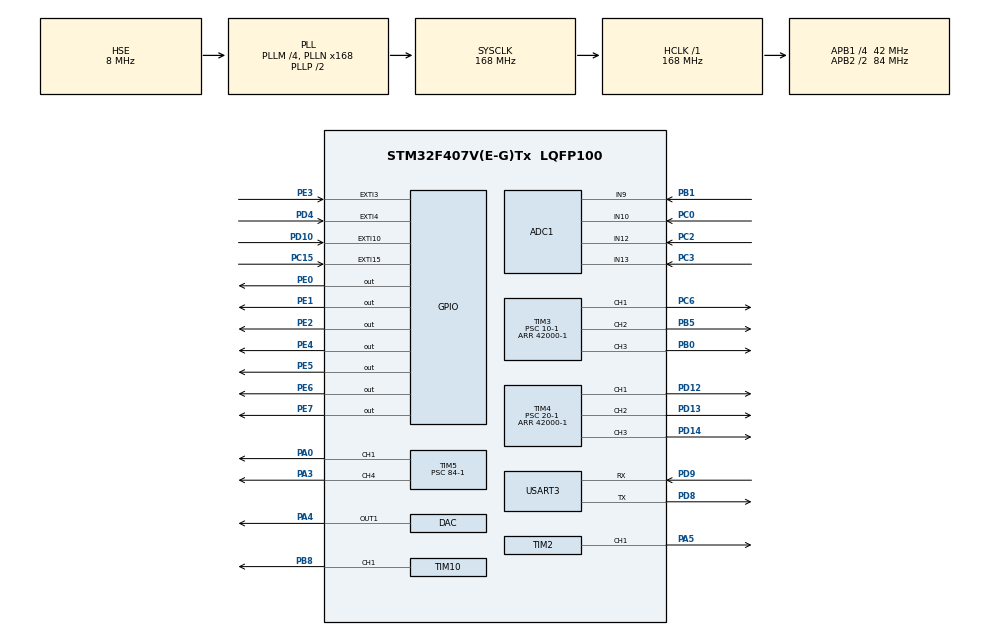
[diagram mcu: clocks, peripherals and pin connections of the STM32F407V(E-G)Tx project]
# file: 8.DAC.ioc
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ADC1.Channel-0\#ChannelRegularConversion=ADC_CHANNEL_10
ADC1.Channel-1\#ChannelRegularConversion=ADC_CHANNEL_12
ADC1.Channel-2\#ChannelRegularConversion=ADC_CHANNEL_13
ADC1.Channel-3\#ChannelRegularConversion=ADC_CHANNEL_9
ADC1.ContinuousConvMode=ENABLE
ADC1.DMAContinuousRequests=ENABLE
ADC1.NbrOfConversion=4
ADC1.NbrOfConversionFlag=1
ADC1.Rank-0\#ChannelRegularConversion=1
ADC1.Rank-1\#ChannelRegularConversion=2
ADC1.Rank-2\#ChannelRegularConversion=3
ADC1.Rank-3\#ChannelRegularConversion=4
ADC1.SamplingTime-0\#ChannelRegularConversion=ADC_SAMPLETIME_84CYCLES
ADC1.SamplingTime-1\#ChannelRegularConversion=ADC_SAMPLETIME_84CYCLES
ADC1.SamplingTime-2\#ChannelRegularConversion=ADC_SAMPLETIME_84CYCLES
ADC1.SamplingTime-3\#ChannelRegularConversion=ADC_SAMPLETIME_84CYCLES
ADC1.ScanConvMode=ENABLE
ADC1.master=1
Dma.ADC1.0.Direction=DMA_PERIPH_TO_MEMORY
Dma.ADC1.0.FIFOMode=DMA_FIFOMODE_DISABLE
Dma.ADC1.0.Instance=DMA2_Stream0
Dma.ADC1.0.MemDataAlignment=DMA_MDATAALIGN_HALFWORD
Dma.ADC1.0.MemInc=DMA_MINC_ENABLE
Dma.ADC1.0.Mode=DMA_CIRCULAR
Dma.ADC1.0.PeriphDataAlignment=DMA_PDATAALIGN_HALFWORD
Dma.ADC1.0.PeriphInc=DMA_PINC_DISABLE
Dma.ADC1.0.Priority=DMA_PRIORITY_LOW
Dma.Request0=ADC1
Mcu.Family=STM32F4
Mcu.Name=STM32F407V(E-G)Tx
Mcu.Package=LQFP100
NVIC.DMA2_Stream0_IRQn=true\:0\:0\:false\:false\:true\:false\:true\:true
NVIC.EXTI15_10_IRQn=true\:0\:0\:false\:true\:true\:5\:true\:true\:true
NVIC.EXTI3_IRQn=true\:0\:0\:false\:true\:true\:3\:true\:true\:true
NVIC.EXTI4_IRQn=true\:0\:0\:false\:true\:true\:4\:true\:true\:true
NVIC.PriorityGroup=NVIC_PRIORITYGROUP_4
NVIC.TIM7_IRQn=true\:0\:0\:false\:true\:true\:2\:true\:true\:true
NVIC.USART3_IRQn=true\:0\:0\:false\:true\:true\:1\:true\:true\:true
PA0-WKUP.Signal=S_TIM5_CH1
PA3.Signal=S_TIM5_CH4
PA4.Signal=COMP_DAC1_group
PA5.Signal=S_TIM2_CH1_ETR
PB0.Signal=S_TIM3_CH3
PB1.Signal=ADCx_IN9
PB5.Signal=S_TIM3_CH2
PB8.Signal=S_TIM10_CH1
PC0.Signal=ADCx_IN10
PC15-OSC32_OUT.Signal=GPXTI15
PC2.Signal=ADCx_IN12
PC3.Signal=ADCx_IN13
PC6.Signal=S_TIM3_CH1
PD10.Signal=GPXTI10
PD12.Signal=S_TIM4_CH1
PD13.Signal=S_TIM4_CH2
PD14.Signal=S_TIM4_CH3
PD4.Signal=GPXTI4
PD8.Mode=Asynchronous
PD8.Signal=USART3_TX
PD9.Mode=Asynchronous
PD9.Signal=USART3_RX
PE0.Signal=GPIO_Output
PE1.Signal=GPIO_Output
PE2.Signal=GPIO_Output
PE3.Signal=GPXTI3
PE4.Signal=GPIO_Output
PE5.Signal=GPIO_Output
PE6.Signal=GPIO_Output
PE7.Signal=GPIO_Output
PH0-OSC_IN.Mode=HSE-External-Oscillator
PH0-OSC_IN.Signal=RCC_OSC_IN
PH1-OSC_OUT.Mode=HSE-External-Oscillator
PH1-OSC_OUT.Signal=RCC_OSC_OUT
ProjectManager.HeapSize=0x200
ProjectManager.StackSize=0x400
ProjectManager.TargetToolchain=STM32CubeIDE
RCC.48MHZClocksFreq_Value=84000000
RCC.AHBFreq_Value=168000000
RCC.APB1CLKDivider=RCC_HCLK_DIV4
RCC.APB1Freq_Value=42000000
RCC.APB1TimFreq_Value=84000000
RCC.APB2CLKDivider=RCC_HCLK_DIV2
RCC.APB2Freq_Value=84000000
RCC.APB2TimFreq_Value=168000000
RCC.CortexFreq_Value=168000000
RCC.HCLKFreq_Value=168000000
RCC.HSE_VALUE=8000000
RCC.HSI_VALUE=16000000
RCC.LSE_VALUE=32768
RCC.PLLM=4
RCC.PLLN=168
RCC.PLLSourceVirtual=RCC_PLLSOURCE_HSE
RCC.SYSCLKFreq_VALUE=168000000
RCC.SYSCLKSource=RCC_SYSCLKSOURCE_PLLCLK
RCC.VCOOutputFreq_Value=336000000
SH.ADCx_IN10.0=ADC1_IN10,IN10
SH.ADCx_IN12.0=ADC1_IN12,IN12
SH.ADCx_IN13.0=ADC1_IN13,IN13
SH.ADCx_IN9.0=ADC1_IN9,IN9
SH.COMP_DAC1_group.0=DAC_OUT1,DAC_OUT1
SH.S_TIM10_CH1.0=TIM10_CH1,PWM Generation1 CH1
SH.S_TIM2_CH1_ETR.0=TIM2_CH1,PWM Generation1 CH1
SH.S_TIM3_CH1.0=TIM3_CH1,PWM Generation1 CH1
SH.S_TIM3_CH2.0=TIM3_CH2,PWM Generation2 CH2
SH.S_TIM3_CH3.0=TIM3_CH3,PWM Generation3 CH3
SH.S_TIM4_CH1.0=TIM4_CH1,PWM Generation1 CH1
SH.S_TIM4_CH2.0=TIM4_CH2,PWM Generation2 CH2
SH.S_TIM4_CH3.0=TIM4_CH3,PWM Generation3 CH3
SH.S_TIM5_CH1.0=TIM5_CH1,PWM Generation1 CH1
SH.S_TIM5_CH4.0=TIM5_CH4,PWM Generation4 CH4
TIM10.Channel=TIM_CHANNEL_1
TIM10.Period=10000-1
TIM10.Prescaler=336-1
TIM10.Pulse=100
TIM2.Channel-PWM\ Generation1\ CH1=TIM_CHANNEL_1
TIM2.Period=1000-1
TIM2.Prescaler=168-1
TIM2.Pulse-PWM\ Generation1\ CH1=500
TIM3.Channel-PWM\ Generation1\ CH1=TIM_CHANNEL_1
TIM3.Channel-PWM\ Generation2\ CH2=TIM_CHANNEL_2
TIM3.Channel-PWM\ Generation3\ CH3=TIM_CHANNEL_3
TIM3.Period=42000-1
TIM3.Prescaler=10-1
TIM3.Pulse-PWM\ Generation1\ CH1=21000-1
TIM3.Pulse-PWM\ Generation2\ CH2=10500-1
TIM3.Pulse-PWM\ Generation3\ CH3=5250-1
TIM4.Channel-PWM\ Generation1\ CH1=TIM_CHANNEL_1
TIM4.Channel-PWM\ Generation2\ CH2=TIM_CHANNEL_2
TIM4.Channel-PWM\ Generation3\ CH3=TIM_CHANNEL_3
TIM4.Period=42000-1
TIM4.Prescaler=20-1
TIM4.Pulse-PWM\ Generation1\ CH1=21000-1
TIM4.Pulse-PWM\ Generation2\ CH2=10500-1
TIM4.Pulse-PWM\ Generation3\ CH3=5250-1
TIM5.Channel-PWM\ Generation1\ CH1=TIM_CHANNEL_1
TIM5.Channel-PWM\ Generation4\ CH4=TIM_CHANNEL_4
TIM5.Period=10000-1
TIM5.Prescaler=84-1
TIM5.Pulse-PWM\ Generation1\ CH1=5000
TIM7.Period=8399
TIM7.Prescaler=9999
USART3.VirtualMode=VM_ASYNC
VP_TIM10_VS_ClockSourceINT.Mode=Enable_Timer
VP_TIM2_VS_ClockSourceINT.Mode=Internal
VP_TIM3_VS_ClockSourceINT.Mode=Internal
VP_TIM4_VS_ClockSourceINT.Mode=Internal
VP_TIM5_VS_ClockSourceINT.Mode=Internal
VP_TIM7_VS_ClockSourceINT.Mode=Enable_Timer
board=custom

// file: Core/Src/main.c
/* USER CODE BEGIN Header */
/**
  ******************************************************************************
  * @file           : main.c
  * @brief          : Main program body
  ******************************************************************************
  * @attention
  *
  * Copyright (c) 2024 STMicroelectronics.
  * All rights reserved.
  *
  * This software is licensed under terms that can be found in the LICENSE file
  * in the root directory of this software component.
  * If no LICENSE file comes with this software, it is provided AS-IS.
  *
  ******************************************************************************
  */
/* USER CODE END Header */
#include "main.h"
#include "adc.h"
#include "dac.h"
#include "dma.h"
#include "tim.h"
#include "usart.h"
#include "gpio.h"

/* USER CODE BEGIN Includes */
#include "CLCD.h"
#include "7SEG.h"
#include  <stdio.h>
/* USER CODE END Includes */

/* USER CODE BEGIN PV */
 uint8_t rx3_data;
/* USER CODE END PV */

void SystemClock_Config(void);
static void MX_NVIC_Init(void);

int main(void)
{
  /* USER CODE BEGIN 1 */
	uint16_t adcval[4];
  /* USER CODE END 1 */

  /* MCU Configuration--------------------------------------------------------*/

  /* Reset of all peripherals, Initializes the Flash interface and the Systick. */
  HAL_Init();

  /* Configure the system clock */
  SystemClock_Config();

  /* Initialize all configured peripherals */
  MX_GPIO_Init();
  MX_DMA_Init();
  MX_USART3_UART_Init();
  MX_TIM7_Init();
  MX_TIM3_Init();
  MX_TIM4_Init();
  MX_TIM10_Init();
  MX_TIM2_Init();
  MX_TIM5_Init();
  MX_ADC1_Init();
  MX_DAC_Init();

  /* Initialize interrupts */
  MX_NVIC_Init();
  /* USER CODE BEGIN 2 */
  HAL_GPIO_WritePin(GPIOD, GPIO_PIN_12, GPIO_PIN_SET);
  HAL_GPIO_WritePin(GPIOD, GPIO_PIN_13, GPIO_PIN_SET);
  HAL_GPIO_WritePin(GPIOD, GPIO_PIN_14, GPIO_PIN_SET);

  HAL_GPIO_WritePin(GPIOC, GPIO_PIN_6, GPIO_PIN_SET);
  HAL_GPIO_WritePin(GPIOB, GPIO_PIN_5, GPIO_PIN_SET);
  HAL_GPIO_WritePin(GPIOB, GPIO_PIN_0, GPIO_PIN_SET);

  HAL_UART_Receive_IT(&huart3, &rx3_data, 1);
  HAL_TIM_Base_Start_IT(&htim7);

  CLCD_GPIO_Init();
  CLCD_Init();
  CLCD_Puts(0, 0, "hello world");

  _7SEG_GPIO_Init();

  HAL_TIM_PWM_Start(&htim3, TIM_CHANNEL_1);
  HAL_TIM_PWM_Start(&htim3, TIM_CHANNEL_2);
  HAL_TIM_PWM_Start(&htim3, TIM_CHANNEL_3);

  HAL_TIM_PWM_Start(&htim4, TIM_CHANNEL_1);
  HAL_TIM_PWM_Start(&htim4, TIM_CHANNEL_2);
  HAL_TIM_PWM_Start(&htim4, TIM_CHANNEL_3);

  HAL_TIM_PWM_Start(&htim10, TIM_CHANNEL_1);
//  HAL_TIM_PWM_Start(&htim2, TIM_CHANNEL_1);

  HAL_TIM_PWM_Start(&htim5, TIM_CHANNEL_1);
  HAL_TIM_PWM_Start(&htim5, TIM_CHANNEL_4);

  HAL_ADC_Start_DMA(&hadc1, &adcval[0], 4);
  HAL_DAC_Start(&hdac, DAC_CHANNEL_1);

  TIM10->CCR1 = 1500;
  TIM2->ARR = 500 -1;
  TIM2 ->CCR1 = 250;
  /* USER CODE END 2 */

  /* Infinite loop */
  /* USER CODE BEGIN WHILE */
  uint8_t a = 0;
  uint8_t str[20];
  uint16_t ccr = 100;
  while (1)
  {
	  sprintf(str,"%4d  %4d",adcval[0],adcval[1]);
	  CLCD_Puts(0, 0, str);

	  sprintf(str,"%4d  %4d",adcval[2],adcval[3]);
	  CLCD_Puts(0, 1, str);

	  HAL_DAC_SetValue(&hdac, DAC_CHANNEL_1, DAC_ALIGN_12B_R, 2047);

    /* USER CODE END WHILE */

  }
}

void SystemClock_Config(void)
{
  RCC_OscInitTypeDef RCC_OscInitStruct = {0};
  RCC_ClkInitTypeDef RCC_ClkInitStruct = {0};

  /** Configure the main internal regulator output voltage
  */
  __HAL_RCC_PWR_CLK_ENABLE();
  __HAL_PWR_VOLTAGESCALING_CONFIG(PWR_REGULATOR_VOLTAGE_SCALE1);

  /** Initializes the RCC Oscillators according to the specified parameters
  * in the RCC_OscInitTypeDef structure.
  */
  RCC_OscInitStruct.OscillatorType = RCC_OSCILLATORTYPE_HSE;
  RCC_OscInitStruct.HSEState = RCC_HSE_ON;
  RCC_OscInitStruct.PLL.PLLState = RCC_PLL_ON;
  RCC_OscInitStruct.PLL.PLLSource = RCC_PLLSOURCE_HSE;
  RCC_OscInitStruct.PLL.PLLM = 4;
  RCC_OscInitStruct.PLL.PLLN = 168;
  RCC_OscInitStruct.PLL.PLLP = RCC_PLLP_DIV2;
  RCC_OscInitStruct.PLL.PLLQ = 4;
  if (HAL_RCC_OscConfig(&RCC_OscInitStruct) != HAL_OK)
  {
    Error_Handler();
  }

  /** Initializes the CPU, AHB and APB buses clocks
  */
  RCC_ClkInitStruct.ClockType = RCC_CLOCKTYPE_HCLK|RCC_CLOCKTYPE_SYSCLK
                              |RCC_CLOCKTYPE_PCLK1|RCC_CLOCKTYPE_PCLK2;
  RCC_ClkInitStruct.SYSCLKSource = RCC_SYSCLKSOURCE_PLLCLK;
  RCC_ClkInitStruct.AHBCLKDivider = RCC_SYSCLK_DIV1;
  RCC_ClkInitStruct.APB1CLKDivider = RCC_HCLK_DIV4;
  RCC_ClkInitStruct.APB2CLKDivider = RCC_HCLK_DIV2;

  if (HAL_RCC_ClockConfig(&RCC_ClkInitStruct, FLASH_LATENCY_5) != HAL_OK)
  {
    Error_Handler();
  }
}

/**
  * @brief NVIC Configuration.
  * @retval None
  */
static void MX_NVIC_Init(void)
{
  /* USART3_IRQn interrupt configuration */
  HAL_NVIC_SetPriority(USART3_IRQn, 0, 0);
  HAL_NVIC_EnableIRQ(USART3_IRQn);
  /* TIM7_IRQn interrupt configuration */
  HAL_NVIC_SetPriority(TIM7_IRQn, 0, 0);
  HAL_NVIC_EnableIRQ(TIM7_IRQn);
  /* EXTI3_IRQn interrupt configuration */
  HAL_NVIC_SetPriority(EXTI3_IRQn, 0, 0);
  HAL_NVIC_EnableIRQ(EXTI3_IRQn);
  /* EXTI4_IRQn interrupt configuration */
  HAL_NVIC_SetPriority(EXTI4_IRQn, 0, 0);
  HAL_NVIC_EnableIRQ(EXTI4_IRQn);
  /* EXTI15_10_IRQn interrupt configuration */
  HAL_NVIC_SetPriority(EXTI15_10_IRQn, 0, 0);
  HAL_NVIC_EnableIRQ(EXTI15_10_IRQn);
}

/* USER CODE BEGIN 4 */
void HAL_UART_RxCpltCallback(UART_HandleTypeDef *huart)
{
  if(huart->Instance == USART3)
  {
	  HAL_UART_Receive_IT(&huart3, &rx3_data, 10);
	  HAL_UART_Transmit(&huart3, &rx3_data, 1, 10);
  }
}
void HAL_TIM_PeriodElapsedCallback(TIM_HandleTypeDef *htim)
{
  if(htim->Instance == TIM7)
  {

  }
}

void HAL_GPIO_EXTI_Callback(uint16_t GPIO_Pin)
{
  if(GPIO_Pin == GPIO_PIN_3)
  {
	  HAL_GPIO_TogglePin(GPIOD, GPIO_PIN_12);
  }
  if(GPIO_Pin == GPIO_PIN_15)
  {
	  HAL_GPIO_TogglePin(GPIOD, GPIO_PIN_13);
  }
  if(GPIO_Pin == GPIO_PIN_4)
  {
	  HAL_GPIO_TogglePin(GPIOD, GPIO_PIN_14);
  }
  if(GPIO_Pin == GPIO_PIN_10)
  {
	  HAL_GPIO_TogglePin(GPIOB, GPIO_PIN_0);
  }

}
/* USER CODE END 4 */

void Error_Handler(void)
{
  __disable_irq();
  while (1)
  {
  }
}
